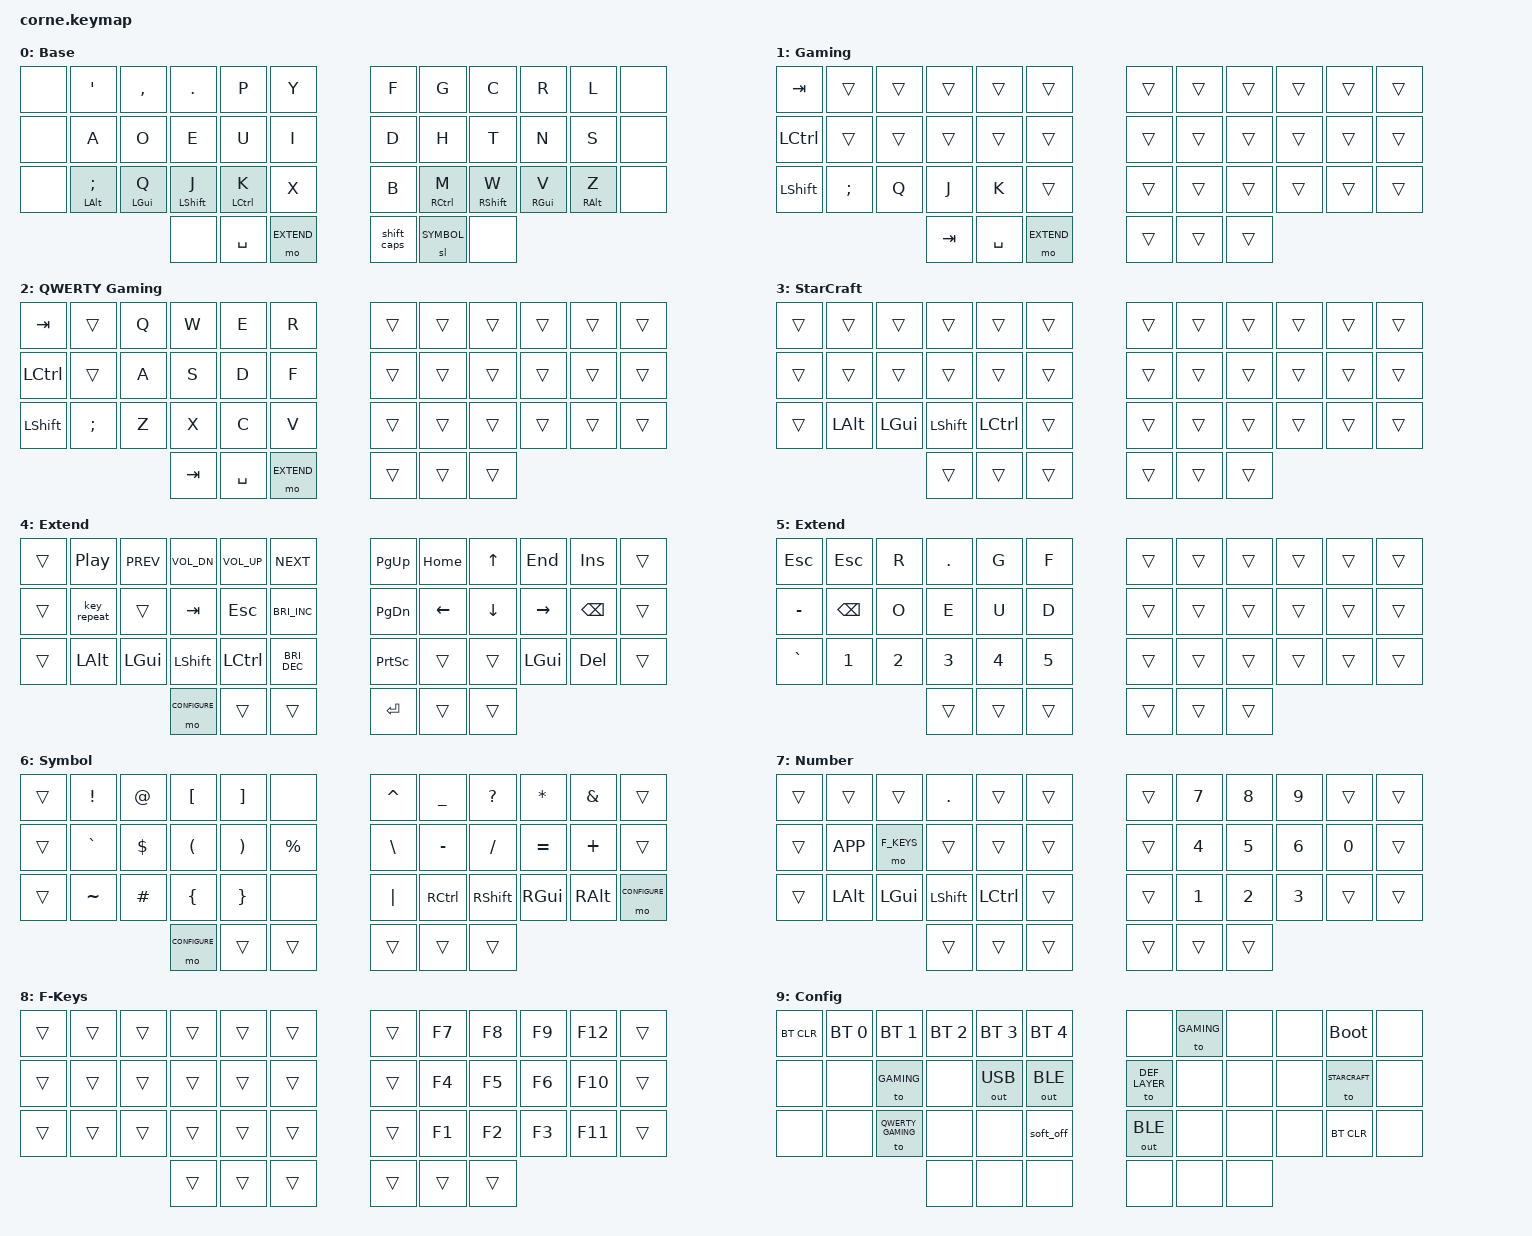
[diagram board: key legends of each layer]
/*
 * Copyright (c) 2020 The ZMK Contributors
 *
 * SPDX-License-Identifier: MIT
 */

// This configuration is used for both my Corne and Corne Mini firmwares.

#include <behaviors.dtsi>
#include <dt-bindings/zmk/keys.h>
#include <dt-bindings/zmk/bt.h>
#include <dt-bindings/zmk/outputs.h>

#define DEF_LAYER          0
#define GAMING             1
#define QWERTY_GAMING      2
#define STARCRAFT          3
#define EXTEND             4
#define GAMING_EXTEND      5
#define SYMBOL             6
#define KEYPAD             7
#define F_KEYS             8
#define CONFIGURE          9

/ {
  behaviors {
        hm: balanced_homerow_mods {
            compatible = "zmk,behavior-hold-tap";
            label = "HOMEROW_MOD";
            #binding-cells = <2>;
            flavor = "balanced";
            tapping-term-ms = <200>;    // <---[[moderate duration]]
            quick-tap-ms = <150>;
            bindings = <&kp>, <&kp>;
        };

        skq: sticky_key_with_quick_release {
            compatible = "zmk,behavior-sticky-key";
            label = "STICKY_KEY_QUICK_RELEASE";
            #binding-cells = <1>;
            bindings = <&kp>;
            release-after-ms = <1000>;
            quick-release;
        };

        mlt: my_layer_tap {
            compatible = "zmk,behavior-hold-tap";
            label = "mlt";
            #binding-cells = <2>;
            flavor = "hold-preferred";
            tapping-term-ms = <200>;
            bindings = <&mo>, <&kp>;
        };

        shift_caps: sticky_shift_caps_word {
            compatible = "zmk,behavior-tap-dance";
            label = "sticky_shift_caps_word";
            #binding-cells = <0>;
            tapping-term-ms = <200>;
            bindings = <&skq LSHFT>, <&caps_word>;
        };

        conditional_layers {
            compatible = "zmk,conditional-layers";
            extend_and_symbol_activate_keypad {
               if-layers = <EXTEND SYMBOL>;
               then-layer = <KEYPAD>;
            };
            gaming_extend_with_gaming {
               if-layers = <EXTEND GAMING>;
               then-layer = <GAMING_EXTEND>;
            };
            gaming_extend_with_qwerty_gaming {
               if-layers = <EXTEND QWERTY_GAMING>;
               then-layer = <GAMING_EXTEND>;
            };
            starcraft_single_key_keypad {
               if-layers = <STARCRAFT SYMBOL>;
               then-layer = <KEYPAD>;
            };
       };
  };
};

/ {
  keymap {
    compatible = "zmk,keymap";

                default_layer {
                        display-name = "Base";
                        bindings = <
   &none &kp SQT       &kp COMMA  &kp DOT     &kp P       &kp Y   &kp F &kp G       &kp C       &kp R      &kp L      &none
   &none &kp A         &kp O      &kp E       &kp U       &kp I   &kp D &kp H       &kp T       &kp N      &kp S      &none
   &none &hm LALT SEMI &hm LGUI Q &hm LSHFT J &hm LCTRL K &kp X   &kp B &hm RCTRL M &hm RSHFT W &hm RGUI V &hm RALT Z &none
                                    &none  &kp SPACE  &mo EXTEND   &shift_caps  &sl SYMBOL  &none
                        >;
                };
                gaming {
                        display-name = "Gaming";
                        bindings = <
   &kp TAB   &trans   &trans &trans &trans &trans        &trans &trans &trans &trans &trans &trans
   &kp LCTRL &trans   &trans &trans &trans &trans        &trans &trans &trans &trans &trans &trans
   &kp LSHFT &kp SEMI &kp Q  &kp J  &kp K  &trans        &trans &trans &trans &trans &trans &trans
                     &kp TAB &kp SPACE &mo EXTEND        &trans &trans &trans
                        >;
                };
                qwerty_gaming {
                        display-name = "QWERTY Gaming";
                        bindings = <
   &kp TAB   &trans   &kp Q &kp W &kp E  &kp R   &trans &trans &trans &trans &trans &trans
   &kp LCTRL &trans   &kp A &kp S &kp D  &kp F   &trans &trans &trans &trans &trans &trans
   &kp LSHFT &kp SEMI &kp Z &kp X &kp C  &kp V   &trans &trans &trans &trans &trans &trans
                  &kp TAB &kp SPACE &mo EXTEND   &trans &trans &trans
                        >;
                };
                starcraft {
                        display-name = "StarCraft";
                        bindings = <
   &trans &trans   &trans   &trans    &trans    &trans   &trans &trans &trans &trans &trans &trans
   &trans &trans   &trans   &trans    &trans    &trans   &trans &trans &trans &trans &trans &trans
   &trans &kp LALT &kp LGUI &kp LSHFT &kp LCTRL &trans   &trans &trans &trans &trans &trans &trans
                                  &trans &trans &trans   &trans &trans &trans
                        >;
                };
                extend {
                        display-name = "Extend";
                        bindings = <
   &trans &kp C_PLAY_PAUSE &kp C_PREV &kp C_VOL_DN &kp C_VOL_UP &kp C_NEXT                 &kp PG_UP       &kp HOME &kp UP   &kp END   &kp INS  &trans
   &trans &key_repeat      &trans     &kp TAB      &kp ESC      &kp C_BRIGHTNESS_INC       &kp PG_DN       &kp LEFT &kp DOWN &kp RIGHT &kp BKSP &trans
   &trans &kp LALT         &kp LGUI   &kp LSHFT    &kp LCTRL    &kp C_BRIGHTNESS_DEC       &kp PRINTSCREEN &trans   &trans   &kp LGUI  &kp DEL  &trans
                                         &mo CONFIGURE  &trans  &trans                     &kp ENTER &trans  &trans
                        >;
                };
// Override left side of extend layer. Gaming_extend is active when both gaming
// and extend are active. The idea is to have more keys to bind in games. But
// the movement movement keys, dot, o, e, and u, are kept the same as in the
// default layer.
                gaming_extend {
                        display-name = "Extend";
                        bindings = <
   &kp ESC   &kp ESC  &kp R  &kp DOT  &kp G  &kp F    &trans &trans &trans &trans &trans &trans
   &kp MINUS &kp BKSP &kp O  &kp E    &kp U  &kp D    &trans &trans &trans &trans &trans &trans
   &kp GRAVE &kp N1   &kp N2 &kp N3   &kp N4 &kp N5   &trans &trans &trans &trans &trans &trans
                             &trans &trans &trans   &trans &trans &trans
                        >;
                };
                symbol {
                        display-name = "Symbol";
                        bindings = <
   &trans &kp EXCL  &kp AT   &kp LBKT &kp RBKT &none       &kp CARET &kp UNDER &kp QMARK &kp ASTRK &kp AMPS &trans
   &trans &kp GRAVE &kp DLLR &kp LPAR &kp RPAR &kp PRCNT   &kp BSLH  &kp MINUS &kp FSLH  &kp EQUAL &kp PLUS &trans
   &trans &kp TILDE &kp HASH &kp LBRC &kp RBRC &none       &kp PIPE  &kp RCTL  &kp RSHFT &kp RGUI  &kp RALT &mo CONFIGURE
                           &mo CONFIGURE  &trans  &trans   &trans  &trans  &trans
                        >;
                };
                keypad {
                        display-name = "Number";
                        bindings = <
   &trans &trans    &trans     &kp DOT   &trans    &trans   &trans &kp N7 &kp N8 &kp N9 &trans &trans
   &trans &kp K_APP &mo F_KEYS &trans    &trans    &trans   &trans &kp N4 &kp N5 &kp N6 &kp N0 &trans
   &trans &kp LALT  &kp LGUI   &kp LSHFT &kp LCTRL &trans   &trans &kp N1 &kp N2 &kp N3 &trans &trans
                                   &trans  &trans  &trans   &trans &trans &trans
                        >;
                };
                f_keys {
                        display-name = "F-Keys";
                        bindings = <
   &trans &trans &trans &trans &trans &trans   &trans &kp F7 &kp F8 &kp F9 &kp F12 &trans
   &trans &trans &trans &trans &trans &trans   &trans &kp F4 &kp F5 &kp F6 &kp F10 &trans
   &trans &trans &trans &trans &trans &trans   &trans &kp F1 &kp F2 &kp F3 &kp F11 &trans
                        &trans &trans &trans   &trans &trans &trans
                        >;
                };
                configure {
                        display-name = "Config";
                        bindings = <
   &bt BT_CLR &bt BT_SEL 0    &bt BT_SEL 1       &bt BT_SEL 2 &bt BT_SEL 3 &bt BT_SEL 4   &none         &to GAMING &none &none &bootloader   &none
   &none      &none           &to GAMING         &none        &out OUT_USB &out OUT_BLE   &to DEF_LAYER &none      &none &none &to STARCRAFT &none
   &none      &none           &to QWERTY_GAMING  &none        &none        &soft_off      &out OUT_BLE  &none      &none &none &bt BT_CLR    &none
                                                 &none        &none        &none          &none         &none      &none
                        >;
                };
        };
};
